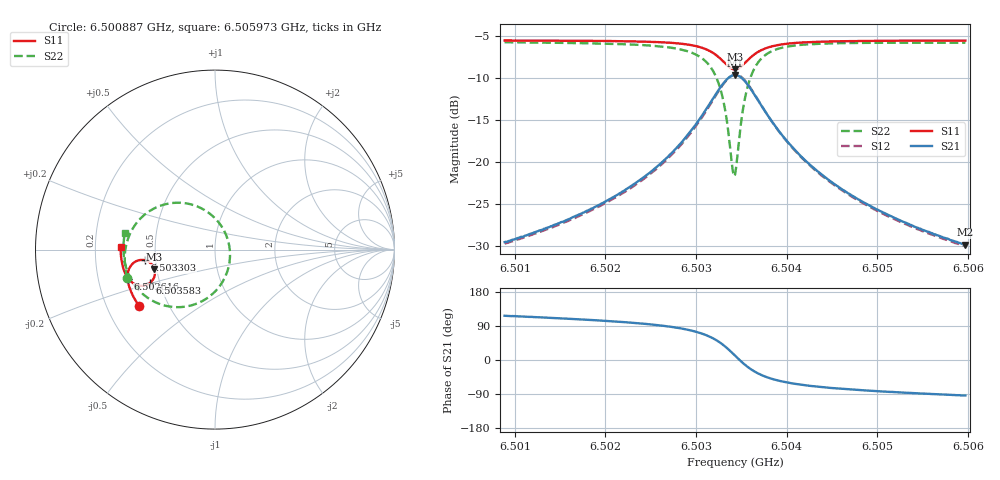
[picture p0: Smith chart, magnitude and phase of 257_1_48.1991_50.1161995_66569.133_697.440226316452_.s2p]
#  HZ  S  RI  R  50.00
! Rohde & Schwarz Vector Network Analyzer
! Rohde-Schwarz,ZNB20-2Port,1311601062101988,3.16
! Created: UTC 3/20/2024, 11:47:36 AM
! freq[Hz]  re:S11  im:S11  re:S21  im:S21  re:S12  im:S12  re:S22  im:S22
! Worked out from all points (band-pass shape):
!   401 points, 6.500887 GHz to 6.505973 GHz, reference 50 ohm
!   highest |S21| = -9.69 dB at 6.50343 GHz (marker M1); lowest = -29.9 dB at 6.505973 GHz (marker M2)
!   |S21| within 3 dB of the highest: 6.503176 GHz to 6.503684 GHz (508.6 kHz wide, 0.00782 % of centre)
!   lowest |S11| = -9.0 dB at 6.50343 GHz (marker M3), VSWR 2.10, Z = 24.3 - j6 ohm
!   |S11| at or under -10 dB: nowhere
!   |S22| runs from -21.7 to -5.8 dB; largest |S21 - S12| = 0.011
!   S11 on the Smith chart (normalised r, x): 6.500887 GHz: 0.34, -0.29; 6.502616 GHz: 0.33, -0.15; 6.503303 GHz: 0.44, -0.06; 6.503583 GHz: 0.44, -0.20; 6.505973 GHz: 0.31, +0.01
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6.5008869e9  -0.4233 -0.3131  -0.015 0.0297  -0.0133 0.0297  -0.4883 -0.1599
6.5017389e9  -0.4603 -0.2508  -0.0144 0.0471  -0.012 0.0468  -0.5024 -0.0702
6.5022094e9  -0.4771 -0.2094  -0.0115 0.0664  -0.00858 0.0654  -0.4999 -0.00414
6.5025909e9  -0.4864 -0.1677  -0.00252 0.0956  0.00093 0.0934  -0.4808 0.071
6.5026163e9  -0.4866 -0.1644  -0.00142 0.0983  0.00216 0.096  -0.4784 0.0773
6.5028961e9  -0.4837 -0.1222  0.0235 0.1395  0.0271 0.1353  -0.4263 0.1616
6.5030996e9  -0.4621 -0.0817  0.0794 0.184  0.0817 0.1778  -0.3193 0.2387
6.503214e9  -0.4299 -0.061  0.148 0.2016  0.149 0.1953  -0.1954 0.261
6.503303e9  -0.3897 -0.0592  0.2273 0.1855  0.2276 0.1803  -0.0588 0.2206
6.5033412e9  -0.3704 -0.0669  0.2635 0.1623  0.2642 0.1577  0.00111 0.1737
6.5034047e9  -0.3438 -0.0934  0.3109 0.0985  0.3136 0.0934  0.0727 0.0509
6.5034302e9  -0.3375 -0.108  0.321 0.0663  0.3241 0.0604  0.0831 -0.00899
6.5034556e9  -0.3346 -0.1235  0.3245 0.0326  0.3279 0.0258  0.081 -0.0704
6.5035192e9  -0.3417 -0.1605  0.3062 -0.0446  0.3082 -0.0548  0.0251 -0.2049
6.5035828e9  -0.363 -0.1863  0.2635 -0.0985  0.2621 -0.1098  -0.0715 -0.2872
6.5036845e9  -0.4024 -0.2013  0.189 -0.1345  0.1836 -0.1437  -0.2209 -0.3205
6.5038498e9  -0.4483 -0.1917  0.1078 -0.1313  0.1008 -0.1362  -0.3671 -0.2736
6.5040278e9  -0.4756 -0.1703  0.0636 -0.1113  0.0573 -0.1135  -0.4387 -0.209
6.5042822e9  -0.4963 -0.1403  0.0337 -0.087  0.0289 -0.0877  -0.4819 -0.1371
6.5046509e9  -0.5114 -0.1019  0.0152 -0.0646  0.0118 -0.0643  -0.5037 -0.0643
6.5051342e9  -0.521 -0.0573  0.00494 -0.0475  0.00274 -0.0469  -0.5102 0.00349
6.5059734e9  -0.5259 0.0134  -0.00209 -0.032  -0.00334 -0.0313  -0.5022 0.0915
